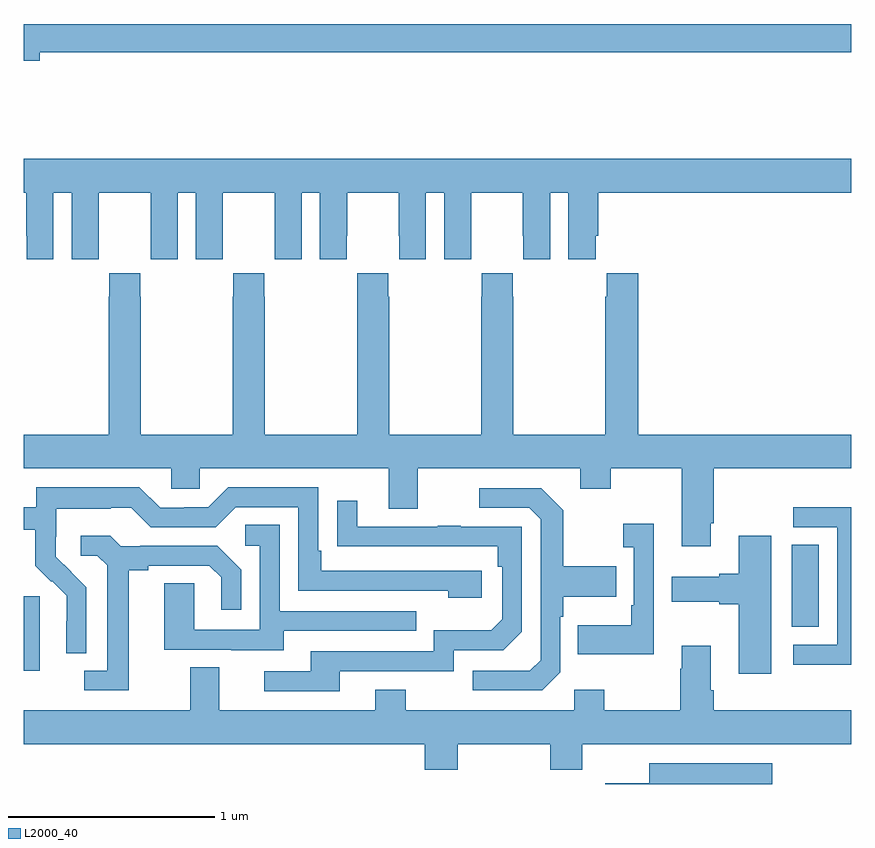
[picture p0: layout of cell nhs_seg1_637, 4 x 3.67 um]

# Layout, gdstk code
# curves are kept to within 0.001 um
import gdstk
lib = gdstk.Library(unit=1e-6, precision=1e-09)
def R(c, l, rs):  # rectangles x0, y0, x1, y1
    for r in rs: c.add(gdstk.rectangle(r[:2], r[2:], *l))
def P(c, l, *ps):  # polygons
    for p in ps: c.add(gdstk.Polygon(p, *l))
L2000_40 = (2000, 40)

nhs_seg1_637 = lib.new_cell('nhs_seg1_637')
R(nhs_seg1_637, L2000_40, [(145,558.746,145.078,559.107), (148.712,558.958,148.843,559.355)])
P(nhs_seg1_637, L2000_40, [(145.078,561.736),(149,561.736),(149,561.872),(145,561.872),(145,561.694),(145.078,561.694)],
  [(145.144,561.056),(145.232,561.056),(145.232,560.736),(145.362,560.736),(145.362,560.848),(145.363,560.848),(145.363,561.056),(145.613,561.056),(145.613,560.848),(145.614,560.848),(145.614,560.736),(145.744,560.736),(145.744,561.056),(145.832,561.056),(145.832,560.736),(145.962,560.736),(145.962,560.848),(145.963,560.848),(145.963,561.056),(146.213,561.056),(146.213,560.848),(146.214,560.848),(146.214,560.736),(146.344,560.736),(146.344,561.056),(146.432,561.056),(146.432,560.736),(146.562,560.736),(146.562,560.848),(146.563,560.848),(146.563,561.056),(146.813,561.056),(146.813,560.848),(146.814,560.848),(146.814,560.736),(146.944,560.736),(146.944,561.056),(147.032,561.056),(147.032,560.736),(147.162,560.736),(147.162,560.848),(147.163,560.848),(147.163,561.056),(147.413,561.056),(147.413,560.848),(147.414,560.848),(147.414,560.736),(147.544,560.736),(147.544,561.056),(147.632,561.056),(147.632,560.736),(147.766,560.736),(147.766,560.848),(147.776,560.848),(147.776,561.056),(149,561.056),(149,561.22),(145,561.22),(145,561.056),(145.013,561.056),(145.013,560.848),(145.014,560.848),(145.014,560.736),(145.144,560.736)],
  [(148.321,559.459),(148.334,559.459),(148.334,559.724),(149,559.724),(149,559.888),(147.971,559.888),(147.971,560.668),(147.817,560.668),(147.817,560.555),(147.811,560.555),(147.811,559.888),(147.366,559.888),(147.366,560.555),(147.363,560.555),(147.363,560.668),(147.213,560.668),(147.213,560.555),(147.211,560.555),(147.211,559.888),(146.766,559.888),(146.766,560.555),(146.763,560.555),(146.763,560.668),(146.613,560.668),(146.613,560.555),(146.611,560.555),(146.611,559.888),(146.166,559.888),(146.166,560.555),(146.163,560.555),(146.163,560.668),(146.013,560.668),(146.013,560.555),(146.011,560.555),(146.011,559.888),(145.566,559.888),(145.566,560.555),(145.563,560.555),(145.563,560.668),(145.413,560.668),(145.413,560.555),(145.411,560.555),(145.411,559.888),(145,559.888),(145,559.724),(145.713,559.724),(145.713,559.626),(145.851,559.626),(145.851,559.724),(146.765,559.724),(146.765,559.53),(146.905,559.53),(146.905,559.724),(147.689,559.724),(147.689,559.625),(147.837,559.625),(147.837,559.724),(148.181,559.724),(148.181,559.347),(148.321,559.347)],
  [(145.302,559.15),(145.156,559.298),(145.156,559.395),(145.158,559.395),(145.158,559.529),(145.421,559.529),(145.421,559.533),(145.521,559.533),(145.614,559.44),(145.929,559.44),(146.025,559.536),(146.328,559.536),(146.328,559.134),(147.053,559.134),(147.053,559.1),(147.214,559.1),(147.214,559.23),(146.437,559.23),(146.437,559.327),(146.424,559.327),(146.424,559.632),(145.989,559.632),(145.893,559.536),(145.775,559.536),(145.775,559.533),(145.659,559.533),(145.559,559.633),(145.062,559.633),(145.062,559.536),(145,559.536),(145,559.428),(145.057,559.428),(145.057,559.253),(145.134,559.176),(145.137,559.179),(145.208,559.109),(145.208,558.986),(145.206,558.986),(145.206,558.832),(145.302,558.832)],
  [(147.594,558.738),(147.594,559.007),(147.607,559.007),(147.607,559.103),(147.863,559.103),(147.863,559.251),(147.607,559.251),(147.607,559.523),(147.501,559.629),(147.201,559.629),(147.201,559.533),(147.444,559.533),(147.498,559.479),(147.498,558.798),(147.447,558.747),(147.171,558.747),(147.171,558.651),(147.507,558.651)],
  [(146.527,558.744),(147.078,558.744),(147.078,558.846),(147.318,558.846),(147.408,558.936),(147.408,559.443),(147.113,559.443),(147.113,559.448),(147.001,559.448),(147.001,559.443),(146.611,559.443),(146.611,559.567),(146.515,559.567),(146.515,559.348),(147.292,559.347),(147.292,559.25),(147.312,559.25),(147.312,558.996),(147.259,558.943),(146.982,558.943),(146.982,558.84),(146.387,558.84),(146.387,558.744),(146.163,558.744),(146.163,558.648),(146.527,558.648)],
  [(149,559.536),(148.719,559.536),(148.719,559.44),(148.932,559.44),(148.932,558.873),(148.719,558.873),(148.719,558.775),(149,558.775)],
  [(148.044,559.456),(147.897,559.456),(147.897,559.343),(147.948,559.343),(147.948,559.063),(147.936,559.063),(147.936,558.967),(147.679,558.967),(147.679,558.827),(148.044,558.827)],
  [(146.257,558.939),(146.897,558.939),(146.897,559.035),(146.238,559.035),(146.238,559.451),(146.07,559.451),(146.07,559.35),(146.142,559.35),(146.142,558.945),(145.824,558.945),(145.824,559.169),(145.679,559.169),(145.679,558.849),(146.003,558.849),(146.003,558.845),(146.257,558.845)],
  [(148.612,559.399),(148.457,559.399),(148.457,559.214),(148.361,559.214),(148.361,559.201),(148.131,559.201),(148.131,559.079),(148.361,559.079),(148.361,559.067),(148.457,559.067),(148.457,558.732),(148.612,558.732)],
  [(145.507,559.232),(145.603,559.232),(145.603,559.254),(145.898,559.254),(145.955,559.197),(145.955,559.041),(146.052,559.041),(146.052,559.234),(145.936,559.35),(145.564,559.35),(145.564,559.347),(145.47,559.347),(145.418,559.399),(145.275,559.399),(145.275,559.302),(145.356,559.302),(145.403,559.255),(145.403,558.747),(145.293,558.747),(145.293,558.651),(145.507,558.651)],
  [(147.099,558.392),(147.544,558.392),(147.544,558.268),(147.699,558.268),(147.699,558.392),(149,558.392),(149,558.556),(148.334,558.556),(148.334,558.652),(148.321,558.652),(148.321,558.868),(148.181,558.868),(148.181,558.755),(148.174,558.755),(148.174,558.556),(147.807,558.556),(147.807,558.655),(147.66,558.655),(147.66,558.556),(146.847,558.556),(146.847,558.655),(146.699,558.655),(146.699,558.556),(145.945,558.556),(145.945,558.764),(145.805,558.764),(145.805,558.556),(145,558.556),(145,558.392),(146.939,558.392),(146.939,558.268),(147.099,558.268)],
  [(148.619,558.3),(148.023,558.3),(148.023,558.202),(147.81,558.202),(147.81,558.199),(148.619,558.199)])

lib.write_gds('nhs_seg1_637.gds')
